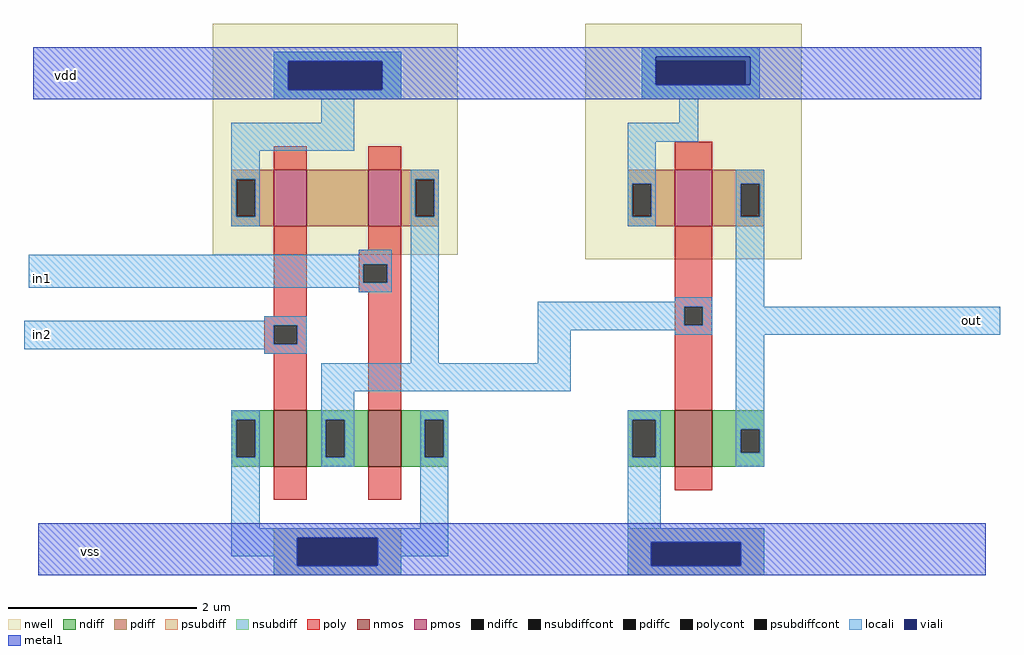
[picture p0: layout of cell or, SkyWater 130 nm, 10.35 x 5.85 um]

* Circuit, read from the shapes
.subckt or in1 in2 out vdd vss
XM1 n1 in2 vss vss sky130_fd_pr__nfet_01v8 w=0.6 l=0.35
XM2 vss in1 n1 vss sky130_fd_pr__nfet_01v8 w=0.6 l=0.35
XM3 out n1 vss vss sky130_fd_pr__nfet_01v8 w=0.6 l=0.4
XM4 n2 in2 vdd vdd sky130_fd_pr__pfet_01v8 w=0.6 l=0.35
XM5 n1 in1 n2 vdd sky130_fd_pr__pfet_01v8 w=0.6 l=0.35
XM6 out n1 vdd vdd sky130_fd_pr__pfet_01v8 w=0.6 l=0.4
.ends

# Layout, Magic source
magic
tech sky130A
<< nwell >>
rect -5 -20 255 225
rect 390 -25 620 225
<< nmos >>
rect 60 -245 95 -185
rect 160 -245 195 -185
rect 485 -245 525 -185
<< pmos >>
rect 60 10 95 70
rect 160 10 195 70
rect 485 10 525 70
<< ndiff >>
rect 15 -195 60 -185
rect 15 -235 20 -195
rect 40 -235 60 -195
rect 15 -245 60 -235
rect 95 -195 160 -185
rect 95 -235 115 -195
rect 135 -235 160 -195
rect 95 -245 160 -235
rect 195 -195 245 -185
rect 195 -235 220 -195
rect 240 -235 245 -195
rect 195 -245 245 -235
rect 435 -195 485 -185
rect 435 -235 440 -195
rect 465 -235 485 -195
rect 435 -245 485 -235
rect 525 -205 580 -185
rect 525 -230 555 -205
rect 575 -230 580 -205
rect 525 -245 580 -230
<< pdiff >>
rect 15 60 60 70
rect 15 20 20 60
rect 40 20 60 60
rect 15 10 60 20
rect 95 10 160 70
rect 195 60 235 70
rect 195 20 210 60
rect 230 20 235 60
rect 195 10 235 20
rect 435 55 485 70
rect 435 20 440 55
rect 460 20 485 55
rect 435 10 485 20
rect 525 55 580 70
rect 525 20 555 55
rect 575 20 580 55
rect 525 10 580 20
<< ndiffc >>
rect 20 -235 40 -195
rect 115 -235 135 -195
rect 220 -235 240 -195
rect 440 -235 465 -195
rect 555 -230 575 -205
<< pdiffc >>
rect 20 20 40 60
rect 210 20 230 60
rect 440 20 460 55
rect 555 20 575 55
<< psubdiff >>
rect 60 -320 195 -310
rect 60 -350 85 -320
rect 170 -350 195 -320
rect 60 -360 195 -350
rect 435 -325 580 -310
rect 435 -350 460 -325
rect 555 -350 580 -325
rect 435 -360 580 -350
<< nsubdiff >>
rect 60 185 195 195
rect 60 155 75 185
rect 175 155 195 185
rect 60 145 195 155
rect 450 185 575 200
rect 450 160 465 185
rect 560 160 575 185
rect 450 145 575 160
<< psubdiffcont >>
rect 85 -350 170 -320
rect 460 -350 555 -325
<< nsubdiffcont >>
rect 75 155 175 185
rect 465 160 560 185
<< poly >>
rect 60 70 95 95
rect 160 70 195 95
rect 485 70 525 100
rect 60 -85 95 10
rect 160 -15 195 10
rect 150 -30 195 -15
rect 150 -50 155 -30
rect 180 -50 195 -30
rect 150 -60 195 -50
rect 50 -95 95 -85
rect 50 -115 60 -95
rect 85 -115 95 -95
rect 50 -125 95 -115
rect 60 -185 95 -125
rect 160 -185 195 -60
rect 485 -75 525 10
rect 485 -95 495 -75
rect 515 -95 525 -75
rect 485 -185 525 -95
rect 60 -280 95 -245
rect 160 -280 195 -245
rect 485 -270 525 -245
<< polycont >>
rect 155 -50 180 -30
rect 60 -115 85 -95
rect 495 -95 515 -75
<< locali >>
rect 60 185 195 195
rect 60 155 75 185
rect 175 155 195 185
rect 60 145 195 155
rect 450 190 575 200
rect 450 160 465 190
rect 565 160 575 190
rect 450 145 575 160
rect 110 120 145 145
rect 490 120 510 145
rect 15 90 145 120
rect 435 100 510 120
rect 15 60 45 90
rect 15 20 20 60
rect 40 20 45 60
rect 15 10 45 20
rect 205 60 235 70
rect 205 20 210 60
rect 230 20 235 60
rect 150 -20 185 -15
rect -200 -30 185 -20
rect -200 -50 155 -30
rect 180 -50 185 -30
rect -200 -55 185 -50
rect 150 -60 185 -55
rect 50 -90 95 -85
rect -205 -95 95 -90
rect -205 -115 60 -95
rect 85 -115 95 -95
rect -205 -120 95 -115
rect 50 -125 95 -120
rect 205 -135 235 20
rect 435 55 465 100
rect 435 20 440 55
rect 460 20 465 55
rect 435 10 465 20
rect 550 55 580 70
rect 550 20 555 55
rect 575 20 580 55
rect 485 -70 525 -65
rect 340 -75 525 -70
rect 340 -95 495 -75
rect 515 -95 525 -75
rect 340 -100 525 -95
rect 340 -135 375 -100
rect 485 -105 525 -100
rect 550 -75 580 20
rect 550 -105 830 -75
rect 110 -165 375 -135
rect 15 -195 45 -185
rect 15 -235 20 -195
rect 40 -235 45 -195
rect 15 -310 45 -235
rect 110 -195 145 -165
rect 110 -235 115 -195
rect 135 -235 145 -195
rect 110 -245 145 -235
rect 215 -195 245 -185
rect 215 -235 220 -195
rect 240 -235 245 -195
rect 215 -310 245 -235
rect 15 -320 245 -310
rect 15 -340 85 -320
rect 60 -350 85 -340
rect 170 -340 245 -320
rect 435 -195 470 -185
rect 435 -235 440 -195
rect 465 -235 470 -195
rect 435 -310 470 -235
rect 550 -205 580 -105
rect 550 -230 555 -205
rect 575 -230 580 -205
rect 550 -245 580 -230
rect 435 -325 580 -310
rect 170 -350 195 -340
rect 60 -360 195 -350
rect 435 -350 460 -325
rect 555 -350 580 -325
rect 435 -360 580 -350
<< viali >>
rect 75 155 175 185
rect 465 185 565 190
rect 465 160 560 185
rect 560 160 565 185
rect 85 -350 170 -320
rect 460 -350 555 -325
<< metal1 >>
rect -195 190 810 200
rect -195 185 465 190
rect -195 155 75 185
rect 175 160 465 185
rect 565 160 810 190
rect 175 155 810 160
rect -195 145 810 155
rect -190 -320 815 -305
rect -190 -350 85 -320
rect 170 -325 815 -320
rect 170 -350 460 -325
rect 555 -350 815 -325
rect -190 -360 815 -350
<< labels >>
rlabel locali -185 -105 -185 -105 1 in2
rlabel metal1 -160 170 -160 170 1 vdd
rlabel metal1 -135 -335 -135 -335 1 vss
rlabel locali 800 -90 800 -90 1 out
rlabel locali -185 -45 -185 -45 1 in1
<< end >>
